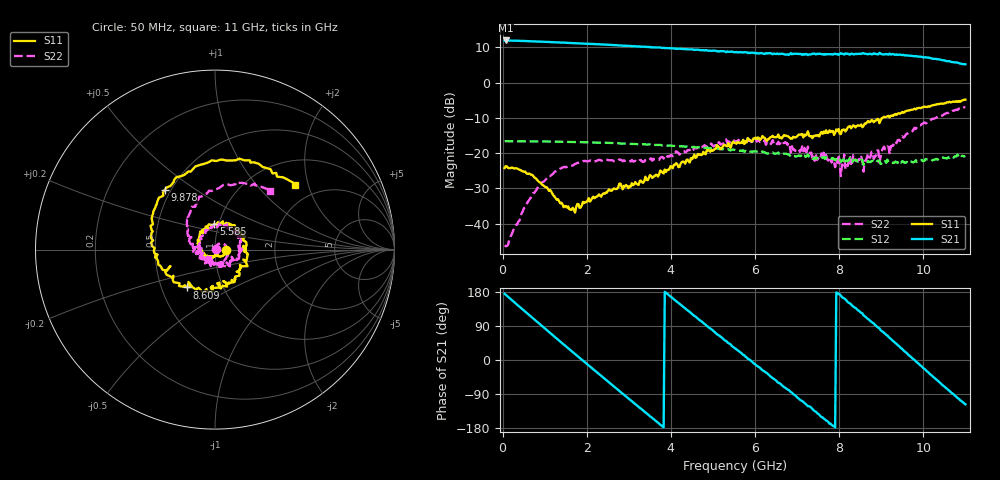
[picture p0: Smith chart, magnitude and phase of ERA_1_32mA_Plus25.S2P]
! Mini-Circuits
! S2P DATA File Format
! Type: MMIC Amplifier
! Model: ERA-1  Reference Data:RDF-960
! Note: All S Parameters are in dB deg format
! TEST CONDITIONS: INPUT POWER = -15dBm, Icc = 32mA, Vd = 3.33V @Temperature = +25degC
# MHz S DB R 50
!  FREQ  dB(S11)  PHS(S11)  dB(S21)  PHS(S21)  dB(S12)  PHS(S12)  dB(S22)  PHS(S22)
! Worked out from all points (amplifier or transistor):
!   401 points, 50 MHz to 11 GHz, reference 50 ohm
!   highest |S21| = 11.9 dB at 77 MHz (marker M1)
!   |S21| within 3 dB of that: start of sweep to 5.084 GHz
!   unconditionally stable (mu >= 1): start of sweep to end of sweep
!   at 1.832 GHz: K = 1.22, MAG = 11.2 dB, |S12| = -16.9 dB
!   at 5.45 GHz: K = 1.73, MAG = 8.9 dB, |S12| = -19.0 dB
!   at 11 GHz: K = 1.69, MAG = 8.2 dB, |S12| = -20.8 dB
!   S11 on the Smith chart (normalised r, x): 50 MHz: 1.13, -0.01; 5.585 GHz: 0.95, +0.28; 8.609 GHz: 0.67, -0.31; 9.878 GHz: 0.46, +0.38; 11 GHz: 1.55, +1.65
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50  -24.25 -3.8  11.91 174.7  -16.63 -4.1  -46.19 23.1
77  -23.68 -4.2  11.94 172.3  -16.65 -6.1  -46.41 35.3
536  -25.25 -41.1  11.80 128.0  -16.67 -39.9  -35.42 77.3
941  -28.97 -68.0  11.58 89.4  -16.71 -70.0  -28.32 59.0
1454  -35.37 -68.8  11.31 41.1  -16.81 -108.3  -23.97 24.8
1886  -34.80 -47.8  11.07 0.8  -16.93 -140.5  -22.42 -9.2
2399  -31.45 -61.4  10.79 -46.8  -17.09 -179.0  -21.96 -49.0
2804  -28.69 -74.4  10.52 -84.3  -17.26 150.4  -21.92 -82.9
3722  -26.12 -122.6  9.97 -167.9  -17.69 82.3  -21.94 -171.1
4154  -23.16 -160.6  9.53 153.3  -18.12 49.6  -19.68 147.6
4667  -20.50 169.4  9.28 107.0  -18.36 11.8  -18.64 111.9
5531  -17.11 99.0  8.62 30.4  -19.12 -53.3  -16.62 52.9
5585  -16.91 92.2  8.57 25.9  -19.22 -57.5  -16.52 48.2
6098  -15.84 54.3  8.23 -18.6  -19.73 -95.9  -16.41 16.4
6584  -15.71 20.9  8.16 -61.1  -20.33 -131.0  -17.48 -13.3
7367  -15.78 -31.2  8.21 -129.0  -21.65 170.8  -21.82 -68.5
8015  -14.50 -86.2  8.16 173.4  -21.83 121.2  -23.28 -130.7
8609  -11.63 -126.5  8.15 115.3  -22.78 88.2  -22.24 -137.0
9203  -9.86 -175.0  8.23 58.1  -22.73 43.0  -20.33 169.6
9878  -7.25 130.3  7.39 -8.5  -22.30 5.6  -12.46 127.9
10436  -5.97 84.8  6.43 -63.9  -21.38 -34.0  -9.43 88.4
11003  -4.85 38.8  5.18 -116.9  -20.82 -73.1  -6.99 47.0
